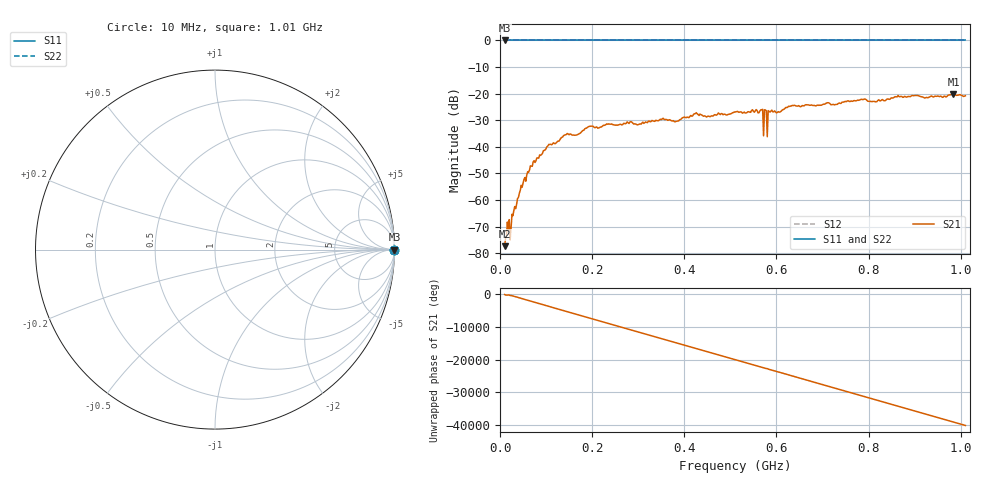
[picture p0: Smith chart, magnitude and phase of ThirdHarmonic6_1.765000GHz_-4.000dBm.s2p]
! 8/16/2025 9:18:35 PM
! C:\ANRITSUVNA\TEMP\TEMP.S2P
! CHANNEL.1
! TR.MEASUREMENT
! RAW.DATA
! RF.CORRECTION.OFF
! AVERAGING.OFF
! IF.BANDWIDTH: 5KHZ
! SWEEPTYPE:  FREQ.SWEEP(Linear)
! Reference Plane Port Info
! PORT:  PORT1  PORT2
! DISTANCE:  0  m  0  m
! TIME:  0  s  0  s
! PHASE.OFFSET:  0  deg.  0  deg.
! LOSS:  0  dB  0  dB
! REF.LOSS:  0  dB  0  dB
! REF.FREQ:  0  Hz  0  Hz
! Power Info
! POWER:  -20  dBm  -20  dBm
! EFF.POWER:  -20  dBm  -20  dBm
! SOURCE.ATTEN:  0  dB  0  dB
! TEST.ATTEN:  0  dB  0  dB
# GHZ S RI R 50.0
! FREQ.GHZ  S11RE  S11IM  S21RE  S21IM  S12RE  S12IM  S22RE  S22IM
!; PortSelection: Port_12
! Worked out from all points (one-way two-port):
!   501 points, 10 MHz to 1.01 GHz, reference 50 ohm
!   highest |S21| = -20.17 dB at 984 MHz (marker M1); lowest = -77.4 dB at 10 MHz (marker M2)
!   lowest |S11| = 0.0 dB at 10 MHz (marker M3)
!   |S11| at or under -10 dB: nowhere
!   |S22| runs from 0.0 to 0.0 dB; largest |S21 - S12| = 1.1
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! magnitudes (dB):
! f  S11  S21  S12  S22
! 10 MHz  0.0  -77.4  0.0  0.0
! 16 MHz  0.0  -68.3  0.0  0.0
! 26 MHz  0.0  -65.4  0.0  0.0
! 30 MHz  0.0  -64.0  0.0  0.0
! 48 MHz  0.0  -55.2  0.0  0.0
! 70 MHz  0.0  -47.3  0.0  0.0
! 106 MHz  0.0  -39.1  0.0  0.0
! 142 MHz  0.0  -35.5  0.0  0.0
! 178 MHz  0.0  -34.1  0.0  0.0
! 196 MHz  0.0  -32.3  0.0  0.0
! 344 MHz  0.0  -30.2  0.0  0.0
! 510 MHz  0.0  -26.9  0.0  0.0
! 566 MHz  0.0  -26.1  0.0  0.0
! 568 MHz  0.0  -26.1  0.0  0.0
! 574 MHz  0.0  -26.1  0.0  0.0
! 576 MHz  0.0  -26.2  0.0  0.0
! 584 MHz  0.0  -26.6  0.0  0.0
! 586 MHz  0.0  -26.9  0.0  0.0
! 678 MHz  0.0  -24.4  0.0  0.0
! 844 MHz  0.0  -22.1  0.0  0.0
! 984 MHz  0.0  -20.2  0.0  0.0
! 1.01 GHz  0.0  -20.8  0.0  0.0
